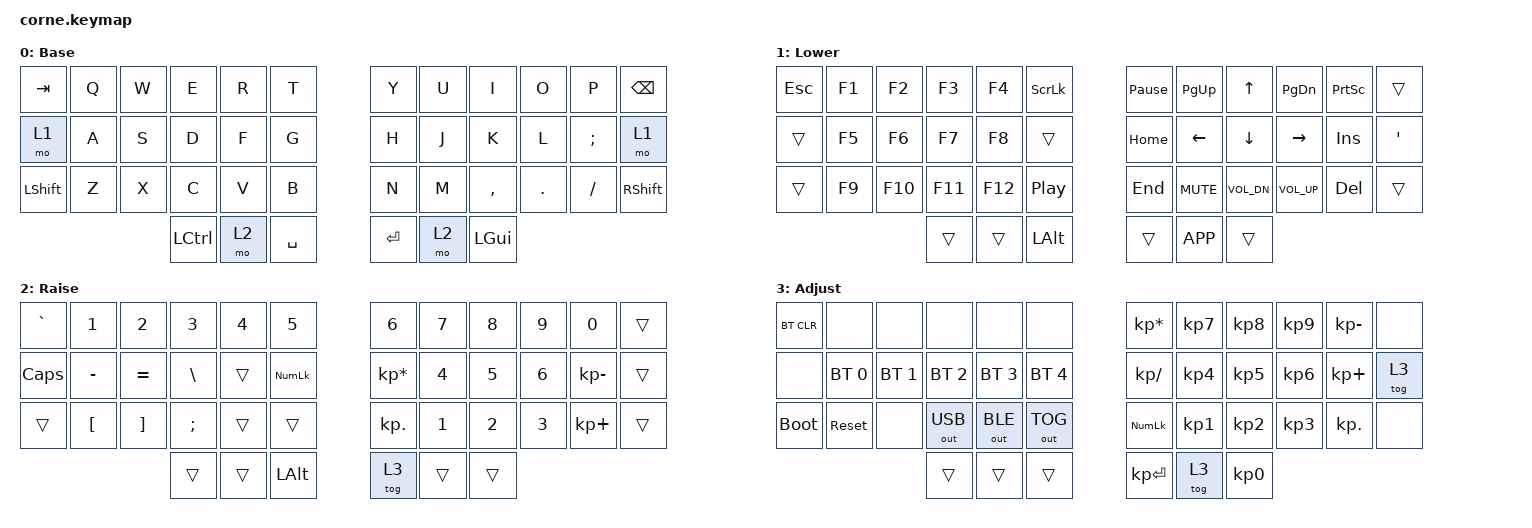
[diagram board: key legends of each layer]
/*
 * Copyright (c) 2020 The ZMK Contributors
 *
 * SPDX-License-Identifier: MIT
 */

#include <behaviors.dtsi>
#include <dt-bindings/zmk/keys.h>
#include <dt-bindings/zmk/bt.h>
#include <dt-bindings/zmk/outputs.h>

/ {
        keymap {
                compatible = "zmk,keymap";
                default_layer {
                        label = "Base";
                        bindings = <
//╭──────────┬──────────┬──────────┬──────────┬──────────┬──────────╮   ╭──────────┬──────────┬──────────┬──────────┬──────────┬──────────╮
//| TAB      │  Q       │  W       │  E       │  R       │  T       │   │  Y       │  U       │  I       │  O       │  P       │BACKSPACE |
    &kp TAB    &kp Q      &kp W      &kp E      &kp R      &kp T          &kp Y      &kp U      &kp I      &kp O      &kp P      &kp BSPC
//├──────────┼──────────┼──────────┼──────────┼──────────┤──────────┤   ├──────────┼──────────┼──────────┼──────────┼──────────┤──────────┤
//| LOWER    │  A       │  S       │  D       │  F       │  G       │   │  H       │  J       │  K       │  L       │  : ;     │ RAISE    |
    &mo 1      &kp A      &kp S      &kp D      &kp F      &kp G          &kp H      &kp J      &kp K      &kp L      &kp SEMI   &mo 1
//├──────────┼──────────┼──────────┼──────────┼──────────┤──────────┤   ├──────────┼──────────┼──────────┼──────────┼──────────┤──────────┤
//| L SHIFT  │  Z       │  X       │  C       │  V       │  B       │   │  N       │  M       │ , <      │ . >      │  ? /     │ R SHIFT  |
    &kp LSHFT  &kp Z      &kp X      &kp C      &kp V      &kp B          &kp N      &kp M      &kp COMMA  &kp DOT    &kp FSLH   &kp RSHFT
//╰──────────┴──────────┴──────────┼──────────┼──────────┼──────────┤   ├──────────┼──────────┼──────────┼──────────┴──────────┴──────────╯
//                                 | L CTRL   | LOWER    | SPACE    |   | ENTER    | RAISE    | WIN      |                  
                                     &kp LCTRL  &mo 2      &kp SPACE      &kp ENTER  &mo 2      &kp LGUI
//                                 ╰──────────┴──────────┴──────────╯   ╰──────────┴──────────┴──────────╯
                        >;
                };
                lower_layer {
                        label = "Lower";
                        bindings = <
//╭──────────┬──────────┬──────────┬──────────┬──────────┬──────────╮   ╭──────────┬──────────┬──────────┬──────────┬──────────┬──────────╮
//| ESC      │  F1      │  F2      │  F3      │  F4      │SCROLLLOCK│   │PAUSEBREAK│ PG UP    │ UP       │ PG DOWN  │ PRINT    │          |
    &kp ESC    &kp  F1    &kp  F2    &kp  F3    &kp  F4    &kp SLCK      &kp PAUSE_BREAK &kp PG_UP &kp UP  &kp PG_DN  &kp PSCRN   &trans
//├──────────┼──────────┼──────────┼──────────┼──────────┤──────────┤   ├──────────┼──────────┼──────────┼──────────┼──────────┤──────────┤
//|          │  F5      │  F6      │  F7      │  F8      │          │   │ HOME     │ LEFT     │ DOWN     │ RIGHT    │ INSERT   │ ' "      |
    &trans     &kp  F5    &kp  F6    &kp  F7    &kp  F8    &trans         &kp HOME   &kp LEFT   &kp DOWN   &kp RIGHT  &kp INS    &kp APOS
//├──────────┼──────────┼──────────┼──────────┼──────────┤──────────┤   ├──────────┼──────────┼──────────┼──────────┼──────────┤──────────┤
//|          │  F9      │  F10     │  F11     │  F12     │PLAY/PAUSE│   │ END      │ MUTE     │ VOL -    │ VOL +    │ DELETE   │          |
    &trans     &kp  F9    &kp  F10   &kp  F11   &kp  F12   &kp C_PP      &kp END   &kp C_MUTE &kp C_VOL_DN &kp C_VOL_UP &kp DEL   &trans
//╰──────────┴──────────┴──────────┼──────────┼──────────┼──────────┤   ├──────────┼──────────┼──────────┼──────────┴──────────┴──────────╯
//                                 |          |          | L ALT    |   |          | MENU     |          |                  
                                     &trans     &trans     &kp LALT       &trans     &kp K_APP  &trans
//                                 ╰──────────┴──────────┴──────────╯   ╰──────────┴──────────┴──────────╯
                        >;
                };

                raise_layer {
                        label = "Raise";
                        bindings = <
//╭──────────┬──────────┬──────────┬──────────┬──────────┬──────────╮   ╭──────────┬──────────┬──────────┬──────────┬──────────┬──────────╮
//| ` ~      │  1 !     │  2 @     │  3 #     │  4 $     │  5 %     │   │  6 ^     │  7 &     │   8 *    │  9 (     │  0 )     │          |
    &kp GRAVE  &kp N1     &kp N2     &kp N3     &kp N4     &kp N5         &kp N6     &kp N7      &kp N8    &kp N9     &kp N0      &trans
//├──────────┼──────────┼──────────┼──────────┼──────────┤──────────┤   ├──────────┼──────────┼──────────┼──────────┼──────────┤──────────┤
//| CAPS     │  - _     │  = +     │  \ |     │          │ NUM LOCK │   │ NUM *    │  4 $     │  5 %     │  6 ^     │ NUM -    │          |
    &kp CAPS   &kp MINUS  &kp EQUAL  &kp BSLH   &trans    &kp KP_NUM   &kp KP_MULTIPLY &kp N4   &kp N5     &kp N6    &kp KP_MINUS &trans
//├──────────┼──────────┼──────────┼──────────┼──────────┤──────────┤   ├──────────┼──────────┼──────────┼──────────┼──────────┤──────────┤
//|          │  [ {     │  ] }     │  ; :     │          │          │   │ NUM .    │  1 !     │  2 @     │  3 #     │ NUM +    │          |
   &trans      &kp  LBKT  &kp  RBKT  &kp  SEMI  &trans      &trans       &kp KP_DOT  &kp N1     &kp N2     &kp N3    &kp KP_PLUS  &trans
//╰──────────┴──────────┴──────────┼──────────┼──────────┼──────────┤   ├──────────┼──────────┼──────────┼──────────┴──────────┴──────────╯
//                                 |          |          |  L ALT   |   | ADJUST TG|          |          |                  
                                     &trans     &trans     &kp LALT        &tog 3     &trans     &trans 
//                                 ╰──────────┴──────────┴──────────╯   ╰──────────┴──────────┴──────────╯
                        >;
                };

                adj_layer {
                        label = "Adjust";
                        bindings = <
//╭──────────┬──────────┬──────────┬──────────┬──────────┬──────────╮   ╭──────────┬──────────┬──────────┬──────────┬──────────┬──────────╮
//| BT CLEAR │          │          │          │          │          │   │ NUM *    │ NUM 7    │ NUM 8    │ NUM 9    │ NUM -    │          |
   &bt BT_CLR  &none      &none      &none      &none       &none      &kp KP_MULTIPLY &kp KP_N7 &kp KP_N8 &kp KP_N9  &kp KP_MINUS &none
//├──────────┼──────────┼──────────┼──────────┼──────────┤──────────┤   ├──────────┼──────────┼──────────┼──────────┼──────────┤──────────┤
//|          │  BLE 1   │  BLE 2   │  BLE 3   │  BLE 4   │  BLE 5   │   │ NUM /    │ NUM 4    │ NUM 5    │ NUM 6    │ NUM +    │ ADJUST TG|    
    &none &bt BT_SEL 0 &bt BT_SEL 1 &bt BT_SEL 2 &bt BT_SEL 3 &bt BT_SEL 4 &kp KP_DIVIDE &kp KP_N4 &kp KP_N5 &kp KP_N6 &kp KP_PLUS &tog 3
//├──────────┼──────────┼──────────┼──────────┼──────────┤──────────┤   ├──────────┼──────────┼──────────┼──────────┼──────────┤──────────┤
//| BOOT LOAD│ RESET    │          │ USB OUT  │ BLE OUT  │USB BLE TG│   │ NUM LOCK │  NUM 1   │  NUM 2   │  NUM 3   │ NUM .    │          |
   &bootloader &sys_reset  &none  &out OUT_USB &out OUT_BLE &out OUT_TOG &kp KP_NUM  &kp KP_N1  &kp KP_N2  &kp KP_N3  &kp KP_DOT  &none 
//╰──────────┴──────────┴──────────┼──────────┼──────────┼──────────┤   ├──────────┼──────────┼──────────┼──────────┴──────────┴──────────╯
//                                 |          |          |          |   | NUM ENTER| ADJUST TG|  NUM 0   |                  
                                      &trans     &trans     &trans       &kp KP_ENTER &tog 3    &kp KP_N0  
//                                 ╰──────────┴──────────┴──────────╯   ╰──────────┴──────────┴──────────╯
                        >;
                };
        };
};
